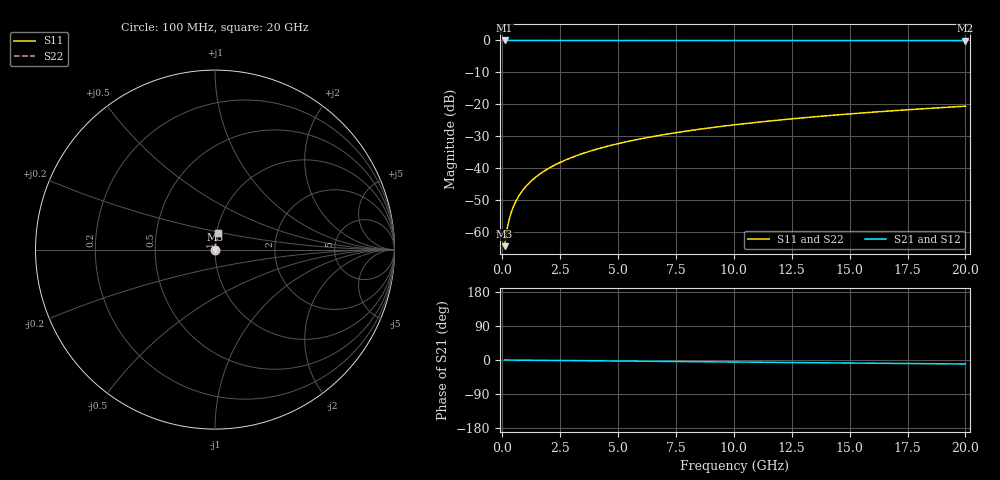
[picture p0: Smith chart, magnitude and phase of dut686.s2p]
! Touchstone file exported from HFSS 2026.1.0
!  File:  C:/ffzhzh/LocalFiles/Ansys_Project_Files/temp_train_TSV_686_1783027523_53980.aedt
!  Generated:  05:27:44 AM Jul  3, 2026
!  Design:  TSV
!  Project:  temp_train_TSV_686_1783027523_53980
! Variables:
!  h_bsmrdl = 2um
!  h_ox = 20um
!  h_rdl = 5um
!  h_sub = 86.86um
!  h_tmrdl = 5um
!  h_tsv = 86.86um
!  h_via = 3um
!  l_bsmrdl = 300um
!  l_sub = 412.44um
!  l_tmrdl = 200um
!  m_sub = 200um
!  pitch = 56.82um
!  r_tsv = 6.22um
!  s_tmrdl = 10um
!  w_bsmrdl = 18um
!  w_sub = 500um
!  w_tmrdl = 12um
!  x_tsv_center1 = 206um
!  x_tsv_center2 = 524um
!  x_tsv_center3 = 736um
!  x_tsv_center4 = 1054um
!  x_tsv_center5 = 1266um
!  x_tsv_center6 = 1584um
# GHz S MA R 50.000000
! Terminal data exported
! Port[1] = TSV1_1_T1
! Port[2] = TSV1_1_T2
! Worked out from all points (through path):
!   200 points, 100 MHz to 20 GHz, reference 50 ohm
!   highest |S21| = 0.00 dB at 100 MHz (marker M1); lowest = -0.1 dB at 20 GHz (marker M2)
!   group delay of S21, straight-line fit = 1.47 ps
!   lowest |S11| = -64.6 dB at 100 MHz (marker M3), VSWR 1.00, Z = 50 + j0.0513 ohm
!   |S11| at or under -10 dB: start of sweep to end of sweep
!   |S22| runs from -64.6 to -20.6 dB; largest |S21 - S12| = 6e-15
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0.1  0.0005887 60.6  0.9997 -0.1  0.9997 -0.1  0.0005887 60.6
! Gamma 0 0 0 0
! Port Impedance 50 0 50 0
0.2  0.001067 73.7  0.9997 -0.1  0.9997 -0.1  0.001067 73.7
0.3  0.001564 78.4  0.9997 -0.2  0.9997 -0.2  0.001564 78.4
0.4  0.002064 80.6  0.9997 -0.2  0.9997 -0.2  0.002064 80.6
0.5  0.002562 81.9  0.9996 -0.3  0.9996 -0.3  0.002562 81.9
0.6  0.003058 82.7  0.9996 -0.3  0.9996 -0.3  0.003058 82.7
0.7  0.00355 83.3  0.9996 -0.4  0.9996 -0.4  0.00355 83.3
0.8  0.004039 83.7  0.9996 -0.4  0.9996 -0.4  0.004039 83.7
1  0.00501 84.3  0.9995 -0.5  0.9995 -0.5  0.00501 84.3
1.4  0.006933 84.9  0.9994 -0.8  0.9994 -0.8  0.006933 84.9
1.7  0.008367 85.2  0.9994 -0.9  0.9994 -0.9  0.008367 85.2
2  0.009797 85.3  0.9993 -1.1  0.9993 -1.1  0.009797 85.3
2.7  0.01312 85.5  0.9992 -1.5  0.9992 -1.5  0.01312 85.5
3.5  0.01691 85.4  0.9991 -1.9  0.9991 -1.9  0.01691 85.4
4.2  0.02022 85.3  0.9989 -2.3  0.9989 -2.3  0.02022 85.3
5  0.02398 85.0  0.9988 -2.7  0.9988 -2.7  0.02398 85.0
6.8  0.03239 84.4  0.9984 -3.6  0.9984 -3.6  0.03239 84.4
8.3  0.03937 83.8  0.998 -4.4  0.998 -4.4  0.03937 83.8
10.1  0.04771 83.0  0.9975 -5.4  0.9975 -5.4  0.04771 83.0
13.4  0.06292 81.5  0.9965 -7.1  0.9965 -7.1  0.06292 81.5
16.7  0.07799 79.9  0.9952 -8.8  0.9952 -8.8  0.07799 79.9
20  0.09291 78.3  0.9938 -10.6  0.9938 -10.6  0.09291 78.3
